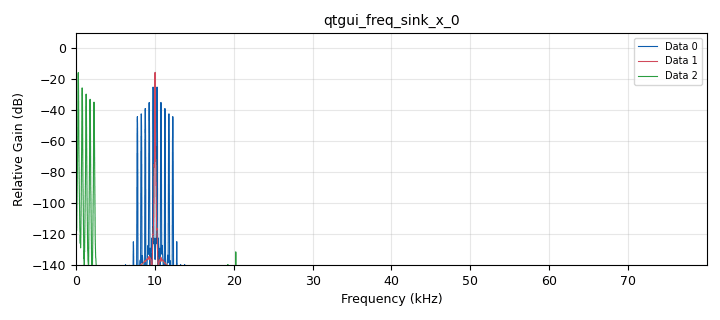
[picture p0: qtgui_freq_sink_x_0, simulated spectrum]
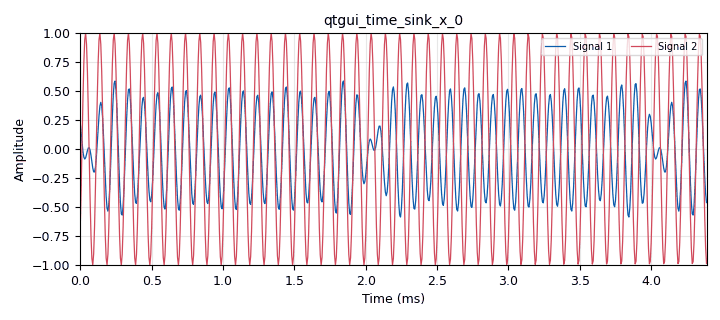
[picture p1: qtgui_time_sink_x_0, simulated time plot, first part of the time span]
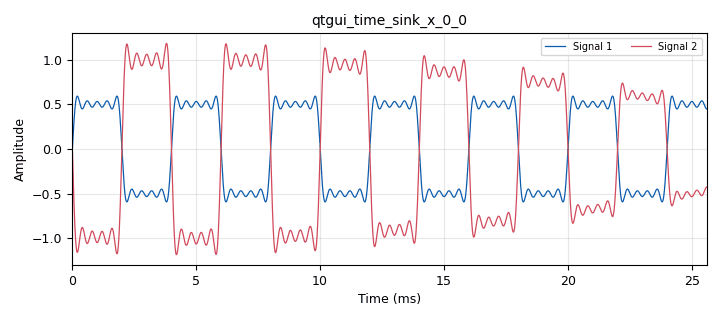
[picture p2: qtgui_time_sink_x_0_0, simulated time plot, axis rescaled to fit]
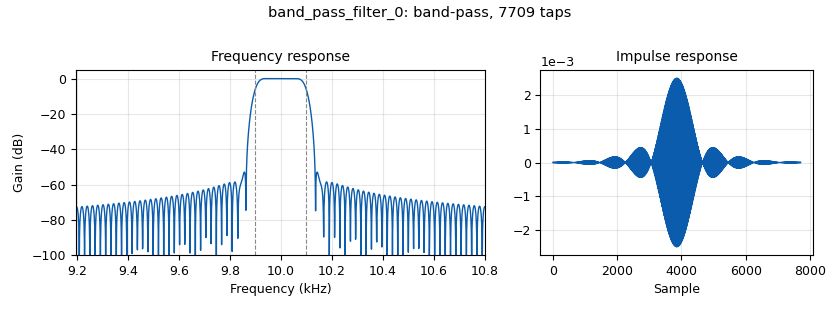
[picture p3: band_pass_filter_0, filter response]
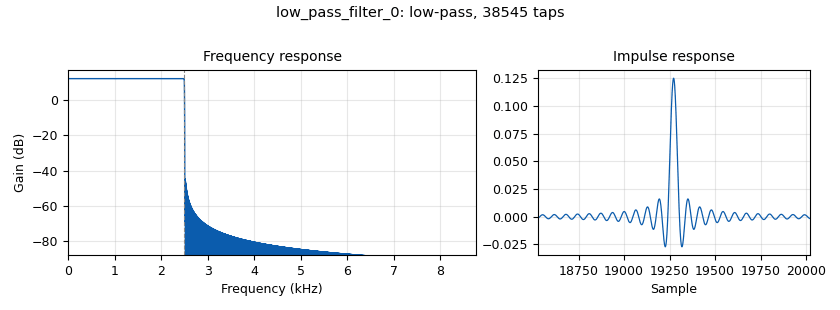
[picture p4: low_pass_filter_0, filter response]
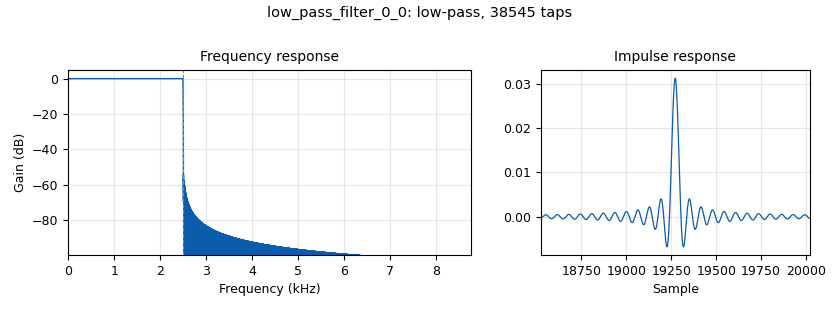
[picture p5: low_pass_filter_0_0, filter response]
options:
  parameters:
    author: Edson P. da Silva
    generate_options: qt_gui
    id: PLL
    output_language: python
    title: PLL
  states: {}

blocks:
- name: fc
  id: variable_qtgui_range
  parameters:
    label: fc
    start: '0'
    step: '10'
    stop: samp_rate/2
    value: '10000'
  states: {}
- name: fmsg
  id: variable_qtgui_range
  parameters:
    label: fmsg
    start: '10'
    step: '10'
    stop: '500'
    value: '250'
  states: {}
- name: phi
  id: variable_qtgui_range
  parameters:
    label: Fase
    start: '0'
    step: '0.001'
    stop: 2*3.14159
    value: 3.14159/6
  states: {}
- name: pi
  id: variable
  parameters:
    value: '3.14159'
  states: {}
- name: pll_bw
  id: variable_qtgui_range
  parameters:
    label: pll_bw
    start: '0'
    step: '0.00001'
    stop: pi/1000
    value: '0.00008'
  states: {}
- name: samp_rate
  id: variable
  parameters:
    value: '160000'
  states: {}
- name: analog_pll_refout_cc_0
  id: analog_pll_refout_cc
  parameters:
    max_freq: 2*pi*(fc*1.001)/samp_rate
    min_freq: 2*pi*(fc*0.999)/samp_rate
    w: pll_bw
  states: {}
- name: analog_sig_source_x_0
  id: analog_sig_source_x
  parameters:
    amp: '1'
    freq: fc
    offset: '0'
    phase: phi
    samp_rate: samp_rate
    type: float
    waveform: analog.GR_COS_WAVE
  states: {}
- name: analog_sig_source_x_0_0
  id: analog_sig_source_x
  parameters:
    amp: '1'
    freq: fmsg
    offset: '-0.5'
    phase: '0'
    samp_rate: samp_rate
    type: float
    waveform: analog.GR_SQR_WAVE
  states: {}
- name: band_pass_filter_0
  id: band_pass_filter
  parameters:
    decim: '1'
    gain: '1'
    high_cutoff_freq: 1.01*fc
    low_cutoff_freq: 0.99*fc
    samp_rate: samp_rate
    type: fir_filter_fff
    width: '50'
    win: window.WIN_HAMMING
  states: {}
- name: blocks_complex_to_real_0
  id: blocks_complex_to_real
  parameters: {}
  states: {}
- name: blocks_float_to_complex_0
  id: blocks_float_to_complex
  parameters: {}
  states: {}
- name: blocks_multiply_xx_0
  id: blocks_multiply_xx
  parameters:
    type: float
  states: {}
- name: blocks_multiply_xx_0_0
  id: blocks_multiply_xx
  parameters:
    type: float
  states: {}
- name: blocks_throttle_0
  id: blocks_throttle
  parameters:
    samples_per_second: samp_rate
    type: float
  states: {}
- name: low_pass_filter_0
  id: low_pass_filter
  parameters:
    cutoff_freq: fmsg*10
    decim: '1'
    gain: '4'
    samp_rate: samp_rate
    type: fir_filter_fff
    width: '10'
    win: window.WIN_HAMMING
  states: {}
- name: low_pass_filter_0_0
  id: low_pass_filter
  parameters:
    cutoff_freq: fmsg*10
    decim: '1'
    gain: '1'
    samp_rate: samp_rate
    type: fir_filter_fff
    width: '10'
    win: window.WIN_HAMMING
  states: {}
- name: low_pass_filter_0_1
  id: low_pass_filter
  parameters:
    cutoff_freq: fmsg*10
    decim: '1'
    gain: '1'
    samp_rate: samp_rate
    type: fir_filter_fff
    width: '10'
    win: window.WIN_HAMMING
  states: {}
- name: qtgui_freq_sink_x_0
  id: qtgui_freq_sink_x
  parameters:
    bw: samp_rate
    fc: '0'
    fftsize: '8192'
    freqhalf: 'False'
    nconnections: '3'
    type: float
  states: {}
- name: qtgui_time_sink_x_0
  id: qtgui_time_sink_x
  parameters:
    nconnections: '2'
    size: '4096'
    srate: samp_rate
    type: float
  states: {}
- name: qtgui_time_sink_x_0_0
  id: qtgui_time_sink_x
  parameters:
    nconnections: '2'
    size: '4096'
    srate: samp_rate
    tr_mode: qtgui.TRIG_MODE_AUTO
    type: float
  states: {}

connections:
- [analog_pll_refout_cc_0, '0', blocks_complex_to_real_0, '0']
- [analog_sig_source_x_0, '0', blocks_throttle_0, '0']
- [analog_sig_source_x_0_0, '0', low_pass_filter_0_0, '0']
- [band_pass_filter_0, '0', blocks_multiply_xx_0_0, '1']
- [band_pass_filter_0, '0', qtgui_freq_sink_x_0, '1']
- [band_pass_filter_0, '0', qtgui_time_sink_x_0, '1']
- [blocks_complex_to_real_0, '0', band_pass_filter_0, '0']
- [blocks_float_to_complex_0, '0', analog_pll_refout_cc_0, '0']
- [blocks_multiply_xx_0, '0', blocks_float_to_complex_0, '0']
- [blocks_multiply_xx_0, '0', blocks_multiply_xx_0_0, '0']
- [blocks_multiply_xx_0, '0', qtgui_freq_sink_x_0, '0']
- [blocks_multiply_xx_0, '0', qtgui_time_sink_x_0, '0']
- [blocks_multiply_xx_0_0, '0', low_pass_filter_0, '0']
- [blocks_throttle_0, '0', blocks_multiply_xx_0, '0']
- [low_pass_filter_0, '0', qtgui_freq_sink_x_0, '2']
- [low_pass_filter_0, '0', qtgui_time_sink_x_0_0, '1']
- [low_pass_filter_0_0, '0', blocks_multiply_xx_0, '1']
- [low_pass_filter_0_0, '0', low_pass_filter_0_1, '0']
- [low_pass_filter_0_1, '0', qtgui_time_sink_x_0_0, '0']

metadata:
  file_format: 1
  grc_version: 3.10.7.0
